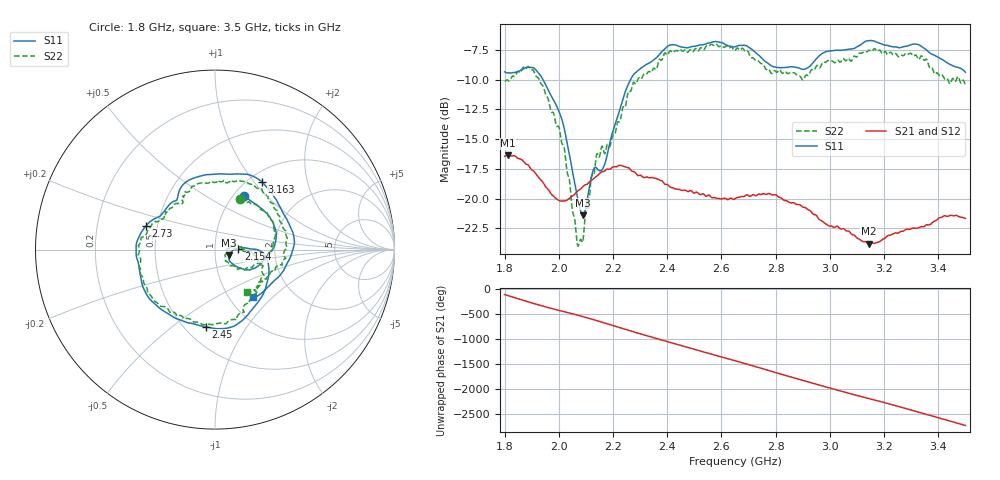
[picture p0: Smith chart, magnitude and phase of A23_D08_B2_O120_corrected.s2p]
! Created with skrf 1.9.0 (http://scikit-rf.org).
# Hz S RI R 50.0
!freq ReS11 ImS11 ReS21 ImS21 ReS12 ImS12 ReS22 ImS22
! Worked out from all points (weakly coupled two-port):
!   1601 points, 1.8 GHz to 3.5 GHz, reference 50 ohm
!   highest |S21| = -16.36 dB at 1.812 GHz (marker M1); lowest = -23.8 dB at 3.144 GHz (marker M2)
!   lowest |S11| = -21.4 dB at 2.089 GHz (marker M3), VSWR 1.19, Z = 58.5 - j3.7 ohm
!   |S11| at or under -10 dB: 1.942 GHz to 2.265 GHz (323 MHz wide, 15.4 % of centre)
!   |S22| runs from -24.0 to -7.0 dB; largest |S21 - S12| = 0.0031
!   S11 on the Smith chart (normalised r, x): 1.8 GHz: 1.12, +0.76; 2.154 GHz: 1.30, +0.00; 2.45 GHz: 0.63, -0.67; 2.73 GHz: 0.43, +0.14; 3.163 GHz: 1.15, +1.10; 3.5 GHz: 1.27, -0.77
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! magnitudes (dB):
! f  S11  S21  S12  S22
! 1.8 GHz  -9.4  -16.4  -16.4  -10.1
! 1.812 GHz  -9.4  -16.4  -16.4  -10.0
! 1.887 GHz  -9.0  -17.2  -17.2  -8.9
! 1.941 GHz  -10.0  -18.6  -18.6  -10.5
! 2.013 GHz  -13.4  -20.2  -20.2  -15.4
! 2.067 GHz  -19.7  -19.4  -19.4  -23.6
! 2.084 GHz  -21.2  -19.1  -19.1  -23.5
! 2.089 GHz  -21.4  -19.0  -19.0  -23.5
! 2.127 GHz  -17.6  -18.4  -18.3  -18.1
! 2.154 GHz  -17.7  -17.8  -17.8  -16.1
! 2.192 GHz  -15.0  -17.5  -17.5  -15.3
! 2.263 GHz  -10.1  -17.5  -17.5  -11.0
! 2.367 GHz  -8.0  -18.4  -18.4  -8.5
! 2.45 GHz  -7.3  -19.3  -19.3  -7.5
! 2.65 GHz  -7.3  -20.0  -20.0  -7.6
! 2.73 GHz  -7.8  -19.7  -19.8  -8.4
! 2.934 GHz  -8.7  -21.2  -21.1  -9.2
! 3.144 GHz  -6.7  -23.8  -23.7  -7.5
! 3.163 GHz  -6.8  -23.8  -23.7  -7.4
! 3.217 GHz  -7.2  -23.1  -23.1  -7.8
! 3.325 GHz  -7.0  -22.5  -22.4  -8.3
! 3.5 GHz  -9.4  -21.7  -21.6  -10.6
